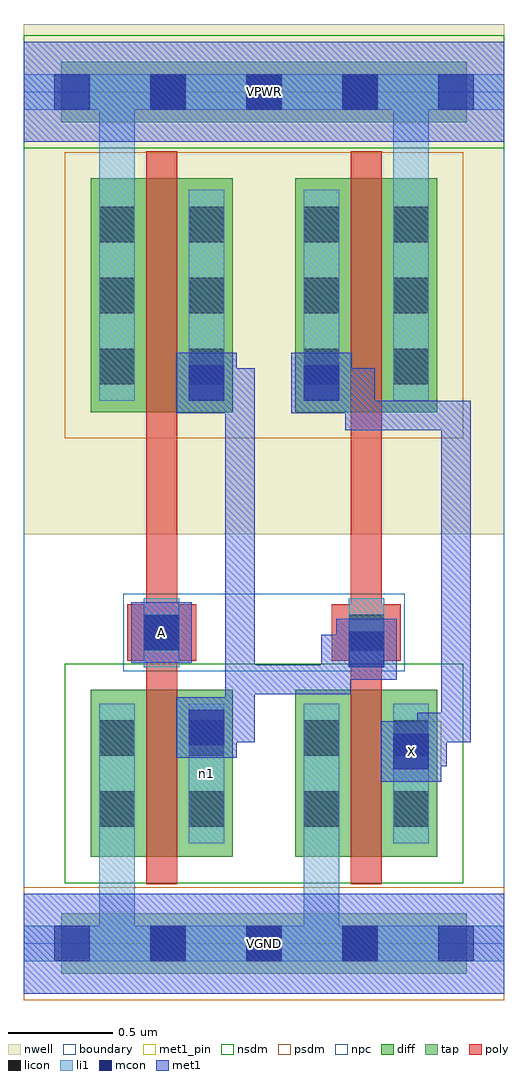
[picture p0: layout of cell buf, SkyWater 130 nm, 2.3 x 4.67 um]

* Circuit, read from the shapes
.subckt buf A VGND VPWR X n1
XM1 n1 A VGND VGND sky130_fd_pr__nfet_01v8 w=0.8 l=0.15
XM2 X n1 VGND VGND sky130_fd_pr__nfet_01v8 w=0.8 l=0.15
XM3 n1 A VPWR VPWR sky130_fd_pr__pfet_01v8 w=1.12 l=0.15
XM4 VPWR n1 X VPWR sky130_fd_pr__pfet_01v8 w=1.12 l=0.15
.ends

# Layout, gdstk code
import gdstk
lib = gdstk.Library(unit=1e-6, precision=1e-09)
def R(c, l, rs):  # rectangles x0, y0, x1, y1
    for r in rs: c.add(gdstk.rectangle(r[:2], r[2:], *l))
def A(c, l, x, y, w, h, nx, ny, dx, dy):  # array of equal rectangles
    R(c, l, [(x+i*dx, y+j*dy, x+i*dx+w, y+j*dy+h) for i in range(nx) for j in range(ny)])
nwell = (64, 20)
diff = (65, 20)
tap = (65, 44)
poly = (66, 20)
licon = (66, 44)
li1 = (67, 20)
mcon = (67, 44)
met1_pin = (68, 16)
met1 = (68, 20)
nsdm = (93, 44)
psdm = (94, 20)
npc = (95, 20)
boundary = (235, 4)

buf = lib.new_cell('buf')
R(buf, nwell, [(0,1.96,2.3,4.405)])
R(buf, diff, [(0.32,0.415,1,1.215), (1.3,0.415,1.98,1.215), (0.32,2.545,1,3.665), (1.3,2.545,1.98,3.665)])
R(buf, tap, [(0.18,-0.145,2.12,0.145), (0.18,3.935,2.12,4.225)])
R(buf, poly, [(0.585,0.285,0.735,3.795), (1.565,0.285,1.715,3.795), (0.495,1.355,0.825,1.625), (1.475,1.355,1.805,1.625)])
A(buf, licon, 0.605, -0.085, 0.17, 0.17, 3, 2, 0.46, 4.08)
A(buf, licon, 0.36, 2.68, 0.17, 0.17, 1, 3, 0, 0.34)
A(buf, licon, 0.79, 2.68, 0.17, 0.17, 1, 3, 0, 0.34)
A(buf, licon, 1.34, 2.68, 0.17, 0.17, 1, 3, 0, 0.34)
A(buf, licon, 1.77, 2.68, 0.17, 0.17, 1, 3, 0, 0.34)
R(buf, licon, [(0.36,0.56,0.53,0.73), (0.79,0.56,0.96,0.73), (1.34,0.56,1.51,0.73), (1.77,0.56,1.94,0.73), (0.36,0.9,0.53,1.07), (0.79,0.9,0.96,1.07), (1.34,0.9,1.51,1.07), (1.77,0.9,1.94,1.07), (0.575,1.405,0.745,1.575), (1.555,1.405,1.725,1.575)])
R(buf, li1, [(0,-0.085,2.3,0.085), (0.36,-0.085,0.53,1.15), (1.34,-0.085,1.51,1.15), (0.36,0.48,0.53,1.15), (0.79,0.48,0.96,1.15), (1.34,0.48,1.51,1.15), (1.77,0.48,1.94,1.15), (0.575,1.325,0.745,1.655), (1.555,1.325,1.725,1.655), (0.36,2.6,0.53,3.61), (0.36,2.6,0.53,4.165), (0.79,2.6,0.96,3.61), (1.34,2.6,1.51,3.61), (1.77,2.6,1.94,3.61), (1.77,2.6,1.94,4.165), (0,3.995,2.3,4.165)])
A(buf, mcon, 0.145, -0.085, 0.17, 0.17, 5, 2, 0.46, 4.08)
R(buf, mcon, [(1.77,0.835,1.94,1.005), (0.79,0.95,0.96,1.12), (1.555,1.325,1.725,1.495), (0.575,1.405,0.745,1.575), (0.79,2.6,0.96,2.77), (1.34,2.6,1.51,2.77)])
R(buf, met1_pin, [(0,-0.24,2.3,0.24), (1.71,0.775,2,1.065), (0.515,1.345,0.805,1.635), (0,3.84,2.3,4.32)])
R(buf, met1, [(0,-0.24,2.3,0.24), (1.71,0.775,2,1.065), (1.785,0.85,2.025,0.99), (1.885,0.85,2.025,1.105), (0.73,0.89,1.02,1.18), (0.805,0.965,1.105,1.105), (0.965,0.965,1.105,1.335), (1.885,0.965,2.14,1.105), (2,0.965,2.14,2.6), (0.965,1.195,1.565,1.335), (0.965,1.195,1.105,2.6), (1.425,1.195,1.565,1.48), (1.495,1.265,1.785,1.555), (1.425,1.34,1.71,1.48), (0.515,1.345,0.805,1.635), (0.965,2.46,1.105,2.755), (1.54,2.46,2.14,2.6), (1.54,2.46,1.68,2.755), (0.73,2.54,1.02,2.83), (1.28,2.54,1.57,2.83), (0.805,2.615,1.105,2.755), (1.355,2.615,1.68,2.755), (0,3.84,2.3,4.32)])
R(buf, nsdm, [(0.195,0.29,2.105,1.34), (0,3.81,2.3,4.35)])
R(buf, psdm, [(0,-0.27,2.3,0.27), (0.195,2.42,2.105,3.79)])
R(buf, npc, [(0.475,1.305,1.825,1.675)])
R(buf, boundary, [(0,0,2.3,4.08)])
buf.add(gdstk.Label('n1', (0.875,0.815), layer=67, texttype=5))
buf.add(gdstk.Label('A', (0.66,1.49), layer=68, texttype=5))
buf.add(gdstk.Label('X', (1.855,0.92), layer=68, texttype=5))
buf.add(gdstk.Label('VPWR', (1.15,4.08), layer=68, texttype=5))
buf.add(gdstk.Label('VGND', (1.15,0), layer=68, texttype=5))
buf.add(gdstk.Label('A', (0.66,1.49), layer=68, texttype=16))
buf.add(gdstk.Label('X', (1.855,0.92), layer=68, texttype=16))
buf.add(gdstk.Label('VPWR', (1.15,4.08), layer=68, texttype=16))
buf.add(gdstk.Label('VGND', (1.15,0), layer=68, texttype=16))

lib.write_gds('buf.gds')
